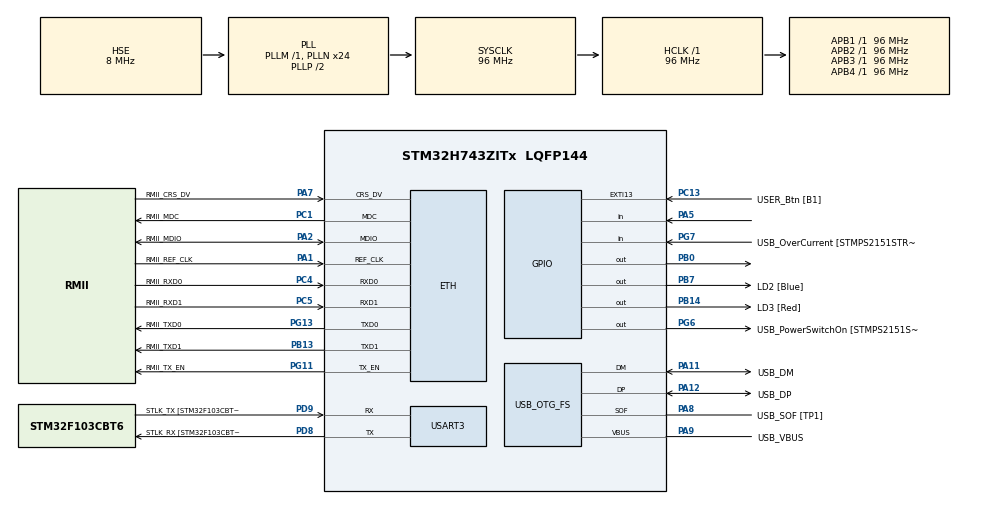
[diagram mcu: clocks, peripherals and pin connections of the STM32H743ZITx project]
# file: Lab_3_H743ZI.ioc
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ETH.MediaInterface=HAL_ETH_RMII_MODE
Mcu.Family=STM32H7
Mcu.Name=STM32H743ZITx
Mcu.Package=LQFP144
NVIC.PriorityGroup=NVIC_PRIORITYGROUP_4
NVIC.TIM16_IRQn=true\:0\:0\:false\:false\:true\:true\:true
PA1.GPIO_Label=RMII_REF_CLK
PA1.Mode=RMII
PA1.Signal=ETH_REF_CLK
PA10.GPIO_Label=USB_ID
PA10.Signal=USB_OTG_FS_ID
PA11.GPIO_Label=USB_DM
PA11.Mode=Device_Only
PA11.Signal=USB_OTG_FS_DM
PA12.GPIO_Label=USB_DP
PA12.Mode=Device_Only
PA12.Signal=USB_OTG_FS_DP
PA2.GPIO_Label=RMII_MDIO
PA2.Mode=RMII
PA2.Signal=ETH_MDIO
PA5.Signal=GPIO_Input
PA7.GPIO_Label=RMII_CRS_DV
PA7.Mode=RMII
PA7.Signal=ETH_CRS_DV
PA8.GPIO_Label=USB_SOF [TP1]
PA8.Mode=Activate_SOF_FS
PA8.Signal=USB_OTG_FS_SOF
PA9.GPIO_Label=USB_VBUS
PA9.Mode=Activate_VBUS
PA9.Signal=USB_OTG_FS_VBUS
PB0.Signal=GPIO_Output
PB13.GPIO_Label=RMII_TXD1
PB13.Mode=RMII
PB13.Signal=ETH_TXD1
PB14.GPIO_Label=LD3 [Red]
PB14.Signal=GPIO_Output
PB7.GPIO_Label=LD2 [Blue]
PB7.Signal=GPIO_Output
PC1.GPIO_Label=RMII_MDC
PC1.Mode=RMII
PC1.Signal=ETH_MDC
PC13.GPIO_Label=USER_Btn [B1]
PC13.Signal=GPXTI13
PC14-OSC32_IN\ (OSC32_IN).Mode=LSE-External-Oscillator
PC14-OSC32_IN\ (OSC32_IN).Signal=RCC_OSC32_IN
PC15-OSC32_OUT\ (OSC32_OUT).Mode=LSE-External-Oscillator
PC15-OSC32_OUT\ (OSC32_OUT).Signal=RCC_OSC32_OUT
PC4.GPIO_Label=RMII_RXD0
PC4.Mode=RMII
PC4.Signal=ETH_RXD0
PC5.GPIO_Label=RMII_RXD1
PC5.Mode=RMII
PC5.Signal=ETH_RXD1
PD8.GPIO_Label=STLK_RX [STM32F103CBT6_PA3]
PD8.Mode=Asynchronous
PD8.Signal=USART3_TX
PD9.GPIO_Label=STLK_TX [STM32F103CBT6_PA2]
PD9.Mode=Asynchronous
PD9.Signal=USART3_RX
PG11.GPIO_Label=RMII_TX_EN
PG11.Mode=RMII
PG11.Signal=ETH_TX_EN
PG13.GPIO_Label=RMII_TXD0
PG13.Mode=RMII
PG13.Signal=ETH_TXD0
PG6.GPIO_Label=USB_PowerSwitchOn [STMPS2151STR_EN]
PG6.Signal=GPIO_Output
PG7.GPIO_Label=USB_OverCurrent [STMPS2151STR_FAULT]
PG7.Signal=GPIO_Input
PH0-OSC_IN\ (PH0).GPIO_Label=MCO
PH0-OSC_IN\ (PH0).Mode=HSE-External-Clock-Source
PH0-OSC_IN\ (PH0).Signal=RCC_OSC_IN
PH1-OSC_OUT\ (PH1).Signal=RCC_OSC_OUT
ProjectManager.HeapSize=0x200
ProjectManager.StackSize=0x400
ProjectManager.TargetToolchain=STM32CubeIDE
RCC.48MHZClocksFreq_Value=24000000
RCC.ADCFreq_Value=16125000
RCC.AHBFreq_Value=216000000
RCC.APB1CLKDivider=RCC_HCLK_DIV4
RCC.APB1Freq_Value=96000000
RCC.APB1TimFreq_Value=108000000
RCC.APB2CLKDivider=RCC_HCLK_DIV2
RCC.APB2Freq_Value=96000000
RCC.APB2TimFreq_Value=216000000
RCC.APB3Freq_Value=96000000
RCC.APB4Freq_Value=96000000
RCC.CortexFreq_Value=96000000
RCC.DIVM1=1
RCC.DIVN1=24
RCC.DIVQ1=4
RCC.HCLKFreq_Value=96000000
RCC.HSE_VALUE=8000000
RCC.HSI_VALUE=64000000
RCC.PLLM=25
RCC.PLLMUL=RCC_PLL_MUL9
RCC.PLLN=432
RCC.PLLQ=9
RCC.PRESCALERUSB=RCC_USBCLKSOURCE_PLL_DIV1_5
RCC.PWR_Regulator_Voltage_Scale=PWR_REGULATOR_VOLTAGE_SCALE1
RCC.SYSCLKFreq_VALUE=96000000
RCC.SYSCLKSource=RCC_SYSCLKSOURCE_PLLCLK
RCC.SYSCLKSourceVirtual=RCC_SYSCLKSOURCE_PLLCLK
RCC.USBFreq_Value=48000000
RCC.VCOOutputFreq_Value=432000000
TIM16.Period=100-1
TIM16.Prescaler=9600-1
USART3.VirtualMode-Asynchronous=VM_ASYNC
USB_OTG_FS.VirtualMode=Device_Only
VP_TIM16_VS_ClockSourceINT.Mode=Enable_Timer
board=NUCLEO-H743ZI

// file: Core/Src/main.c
/* USER CODE BEGIN Header */
/**
  ******************************************************************************
  * @file           : main.c
  * @brief          : Main program body
  ******************************************************************************
  * @attention
  *
  * <h2><center>&copy; Copyright (c) 2020 STMicroelectronics.
  * All rights reserved.</center></h2>
  *
  * This software component is licensed by ST under BSD 3-Clause license,
  * the "License"; You may not use this file except in compliance with the
  * License. You may obtain a copy of the License at:
  *                        opensource.org/licenses/BSD-3-Clause
  *
  ******************************************************************************
  */
/* USER CODE END Header */
#include "main.h"
#include "string.h"

/* USER CODE BEGIN Includes */
#include <stdio.h>
/* USER CODE END Includes */

/* USER CODE BEGIN PTD */

#define threshold1 100
#define threshold2 120
#define step1 50
#define step2 10
#define MODIFIED 61
/* USER CODE END PTD */

#if defined ( __ICCARM__ ) /*!< IAR Compiler */

#pragma location=0x30040000
ETH_DMADescTypeDef  DMARxDscrTab[ETH_RX_DESC_CNT]; /* Ethernet Rx DMA Descriptors */
#pragma location=0x30040060
ETH_DMADescTypeDef  DMATxDscrTab[ETH_TX_DESC_CNT]; /* Ethernet Tx DMA Descriptors */
#pragma location=0x30040200
uint8_t Rx_Buff[ETH_RX_DESC_CNT][ETH_MAX_PACKET_SIZE]; /* Ethernet Receive Buffers */

#elif defined ( __CC_ARM )  /* MDK ARM Compiler */

__attribute__((at(0x30040000))) ETH_DMADescTypeDef  DMARxDscrTab[ETH_RX_DESC_CNT]; /* Ethernet Rx DMA Descriptors */
__attribute__((at(0x30040060))) ETH_DMADescTypeDef  DMATxDscrTab[ETH_TX_DESC_CNT]; /* Ethernet Tx DMA Descriptors */
__attribute__((at(0x30040200))) uint8_t Rx_Buff[ETH_RX_DESC_CNT][ETH_MAX_PACKET_SIZE]; /* Ethernet Receive Buffer */

#elif defined ( __GNUC__ ) /* GNU Compiler */

ETH_DMADescTypeDef DMARxDscrTab[ETH_RX_DESC_CNT] __attribute__((section(".RxDecripSection"))); /* Ethernet Rx DMA Descriptors */
ETH_DMADescTypeDef DMATxDscrTab[ETH_TX_DESC_CNT] __attribute__((section(".TxDecripSection")));   /* Ethernet Tx DMA Descriptors */
uint8_t Rx_Buff[ETH_RX_DESC_CNT][ETH_MAX_PACKET_SIZE] __attribute__((section(".RxArraySection"))); /* Ethernet Receive Buffers */

#endif

ETH_TxPacketConfig TxConfig;

ETH_HandleTypeDef heth;

TIM_HandleTypeDef htim16;

UART_HandleTypeDef huart3;

PCD_HandleTypeDef hpcd_USB_OTG_FS;

/* USER CODE BEGIN PV */
enum modeEnum{init, Mode0, Mode1, Mode2, Mode3, Mode4};
enum buttonEnum{notPressed, pressed, pressedMoreThan1s};
enum buttonEnum buttonMode = notPressed /*, buttonAdjust = notPressed;*/;
enum buttonStateEnum{reset, pressLessThan1s, pressAtLeast1s};
enum buttonStateEnum buttonState = reset;
enum modeEnum mode = init;
uint32_t globalCount = 0;
uint8_t buf[50];
char uart_buf[50];
int uart_buf_len;

uint32_t hour = 0; //0-23     //normalclock
uint32_t minute = 0; //0-59
uint32_t second = 0; //0-59s

uint8_t isSetHour = 0;
uint8_t isSetMinute = 0;
uint8_t isSetSecond = 0;
uint32_t countHour = 0;  // for counting hour,minute, second in setTime
uint32_t countMinute = 0;  // for counting hour,minute, second in setTime
uint32_t countSecond = 0;  // for counting hour,minute, second in setTime
uint32_t hourModified = 0;
uint32_t minuteModified = MODIFIED;
uint32_t secondModified = MODIFIED;

enum normalClockEnum{startNormalClock, runNormalClock, secondRestart, minuteRestart};
enum normalClockEnum normalClockState = startNormalClock;
__IO uint8_t firstRead = 0;
__IO uint8_t secondRead = 0;
uint8_t unchange = 0;
uint8_t pressing = 0;
uint8_t isPressedOneTime = 0;
uint8_t isPressedMoreThan1s = 0;
uint32_t count1 = 0;
uint32_t count2 = 0;
uint32_t count = 0;

enum stopWatchEnum{initStopWatch, increaseHund, increaseSec, increaseMin};
enum stopWatchEnum stopWatchState = initStopWatch;

__IO uint8_t firstReadMode = 0;
__IO uint8_t secondReadMode = 0;
uint32_t stopMin = 0; // Minute value of the stopwatch
uint32_t stopSec = 0; // Second value of the stopwatch
uint32_t stopHun = 0; // Hundredth second value of the stopwatch
uint8_t stopWatchPause = 0;

/* USER CODE END PV */

void SystemClock_Config(void);
static void MX_GPIO_Init(void);
static void MX_ETH_Init(void);
static void MX_USART3_UART_Init(void);
static void MX_USB_OTG_FS_PCD_Init(void);
static void MX_TIM16_Init(void);
/* USER CODE BEGIN PFP */
void readButton(void);
void printCounter(void);
void TurnOnLedBlue(void);
void TurnOffLedBlue(void);
void TurnOnLedRed(void);
void TurnOnLedRed(void);
void SetGlobalMode(void);

void updateTime(void); //mode 0
void printTimeAdjust(void);
void setHour(void); //mode 1
void setMinute(void); //mode 2
void setSecond(void); //mode 3
void stopWatch(void); //mode 4

void displayClock(void); //mode 0
void normalClock(void);
void printClock(uint32_t hour, uint32_t minute, uint32_t second);
void readButtonAdjust(void);

void readButtonMode(void);
void printStopWatchTime(void);
void stopWatch(void);

/* USER CODE END PFP */

/* USER CODE BEGIN 0 */
void TurnOnLedBlue(void) {
	if (globalCount % 40 > 20)
		HAL_GPIO_WritePin(LD2_GPIO_Port, LD2_Pin, GPIO_PIN_SET);
	else
		HAL_GPIO_WritePin(LD2_GPIO_Port, LD2_Pin, GPIO_PIN_RESET);
}

void TurnOffLedBlue(void) {
	HAL_GPIO_WritePin(LD2_GPIO_Port, LD2_Pin, GPIO_PIN_RESET);
}

void TurnOnLedRed(void) {
	if (globalCount % 40 > 20)
		HAL_GPIO_WritePin(LD2_GPIO_Port, LD3_Pin, GPIO_PIN_SET);
	else
		HAL_GPIO_WritePin(LD2_GPIO_Port, LD3_Pin, GPIO_PIN_RESET);
}

void TurnOffLedRed(void) {
	HAL_GPIO_WritePin(LD2_GPIO_Port, LD3_Pin, GPIO_PIN_RESET);
}

void TurnOnLedYellow(void) {
	if (globalCount % 40 > 20)
		HAL_GPIO_WritePin(GPIOB, GPIO_PIN_0, GPIO_PIN_SET);
		else
			HAL_GPIO_WritePin(GPIOB, GPIO_PIN_0, GPIO_PIN_RESET);
}

void TurnOffLedYellow(void) {
	HAL_GPIO_WritePin(GPIOB, GPIO_PIN_0, GPIO_PIN_RESET);
}

void updateTime(void) {
	if(isSetHour) {
			hour = (countHour + hourModified) % 24;
			isSetHour = 0;
			countHour = 0;
			}
	if(isSetMinute) {
			minute = (countMinute + minuteModified) % 60;
			isSetMinute = 0;
			countMinute = 0;
			}
	if(isSetSecond) {
			second = (countSecond + secondModified) % 60;
			isSetSecond = 0;
			countSecond = 0;
			}
}

void printTimeAdjust(void){
	uart_buf_len = sprintf(uart_buf, "%lu:%lu:%lu\r\n",
							(countHour+hourModified)%24,
							(countMinute+minuteModified)%60,
							(countSecond+secondModified)%60);
	HAL_UART_Transmit(&huart3, (uint8_t *) uart_buf, uart_buf_len, 100);
}

void setHour(void){
	if (!isSetHour){
		hourModified = hour;
		minuteModified = (minuteModified == MODIFIED)?minute:minuteModified;
		secondModified = (secondModified == MODIFIED)?second:secondModified;
		isSetHour = (countHour!=0);
	}

	if (isPressedOneTime) {
		countHour++; printTimeAdjust();
	}

	if (isPressedMoreThan1s) {
		countHour++;
		printTimeAdjust();
	}
}

void setMinute(void){
	if(!isSetMinute){
		isSetMinute = (countMinute!=0);
	}

	if(isPressedOneTime) {countMinute++; printTimeAdjust();}

	if(isPressedMoreThan1s) {
			countMinute++;
			printTimeAdjust();
	}
}

void setSecond(void){
	if(!isSetSecond){
		isSetSecond = (countSecond!=0);
	}

	if(isPressedOneTime) {countSecond++; printTimeAdjust();}

	if(isPressedMoreThan1s) {
			countSecond++;
			printTimeAdjust();
	}
}

void displayClock(void)
{
	static uint8_t period = 0;
	if (++period==100)
	{
		period = 0;
		normalClock();
		if (mode == Mode0) printClock(hour, minute, second);
	}
}

void normalClock(void) {
	switch(normalClockState) {
	case startNormalClock:
		hour = 21;
		minute = 30;
		second = 0;
		normalClockState = runNormalClock;
		break;
	case runNormalClock:
		second++;
		if (second == 60) {
			second = 0;
			normalClockState = secondRestart;
		} else {
			normalClockState = runNormalClock;
			break;
		}
	case secondRestart:
		minute++;
		if (minute == 60) {
			minute = 0;
			normalClockState = minuteRestart;
		} else {
			normalClockState = runNormalClock;
			break;
		}
	case minuteRestart:
		hour++;
		normalClockState = runNormalClock;
		if (hour == 24) hour = 0;
		break;
	}
}

void printClock(uint32_t hour, uint32_t minute, uint32_t second) {
	uart_buf_len = sprintf(uart_buf, "%lu:%lu:%lu\r\n", hour,minute,second);
	HAL_UART_Transmit(&huart3, (uint8_t *) uart_buf, uart_buf_len, 100);
}

void printStopWatchTime(void) {
	uart_buf_len = sprintf(uart_buf, "Min: %lu\tSec: %lu.%lu\r\n", stopMin, stopSec, stopHun);
	HAL_UART_Transmit(&huart3, (uint8_t *) uart_buf, uart_buf_len, 100);
}

void stopWatch(void) {
	if (isPressedOneTime) {
		stopWatchPause = !stopWatchPause;
	}
	if (!stopWatchPause) {
		switch (stopWatchState) {
		case initStopWatch: // Initialize values of stopWatch when change to mode 4
			stopMin = 0;
			stopSec = 0;
			stopHun = 0;
			stopWatchState = increaseHund;
			break;
		case increaseHund: // Increase the hundredth second value from 0 to 99
			stopHun++;
			if (stopHun == 100) {
				stopHun = 0;
				stopSec++;
				stopWatchState = increaseSec;
				printStopWatchTime();
			} else {
				stopWatchState = increaseHund;
				printStopWatchTime();
				break;
			}
		case increaseSec: // Increase the second value from 0 to 59
			if (stopSec == 60) {
				stopHun = 0;
				stopSec = 0;
				stopMin++;
				stopWatchState = increaseMin;
				printStopWatchTime();
			} else {
				stopWatchState = increaseHund;
				printStopWatchTime();
				break;
			}
		case increaseMin: // Increase the min value from 0 to 59
			if (stopMin == 60) {
				stopHun = 1;
				stopSec = 0;
				stopMin = 0;
			} else {
				stopWatchState = increaseHund;
			}
			printStopWatchTime();
			break;
		}
	}
}

void readButtonMode(void) {
	firstReadMode = secondReadMode;
	secondReadMode = !(HAL_GPIO_ReadPin(USER_Btn_GPIO_Port, USER_Btn_Pin));
	if (!firstReadMode && secondReadMode) {
		buttonMode = pressed;
	} else {
		buttonMode = notPressed;
	}
}

void readButtonAdjust(void) {
	firstRead = secondRead;
	secondRead = !(HAL_GPIO_ReadPin(GPIOA, GPIO_PIN_5));

	unchange = (secondRead == firstRead);
	isPressedOneTime = !unchange && !pressing;
	pressing = unchange && firstRead;

	switch(buttonState) {
	case reset:
		count1 = 0;
		count2 = 0;
		if (pressing) buttonState = pressLessThan1s;
		else buttonState = reset;
		break;
	case pressLessThan1s:
		count1++; //first pseudo-counter for the first time interval (first 1s)
		if (!pressing) buttonState = reset;
		else if (count1 == threshold1) buttonState = pressAtLeast1s;
		else buttonState = pressLessThan1s;
		break;
	case pressAtLeast1s:
		count2++;
		if (!pressing) buttonState = reset;
		else {
			if (count2==(threshold2-threshold1)) {
				isPressedMoreThan1s = 1;
				count2 = 0;
			} else {
				isPressedMoreThan1s = 0;
			}
		}
		break;
	}
}

/*void printCounter(void) {
	uart_buf_len = sprintf(uart_buf, "%lu\r\n", count);
	HAL_UART_Transmit(&huart3, (uint8_t *) uart_buf, uart_buf_len, 100);
}

void checkReadButton(void)
{
	if (isPressedOneTime) {
		HAL_GPIO_TogglePin(GPIOA, GPIO_PIN_6);
		count++;
		printCounter();
	}
	if (isPressedMoreThan1s) {
		count++;
		printCounter();
	}
}

void readButton(void) {
	firstRead = secondRead;
	secondRead = !(HAL_GPIO_ReadPin(GPIOA, GPIO_PIN_5));

	unchange = (secondRead == firstRead);
	isPressedOneTime = !unchange && !pressing;
	pressing = unchange && firstRead;

	switch(state) {
	case reset:
		count1 = 0;
		count2 = 0;
		if (pressing) state = pressLessThan1s;
		else state = reset;
		break;
	case pressLessThan1s:
		count1++; //first pseudo-counter for the first time interval (first 1s)
		if (!pressing) state = reset;
		else if (count1 == threshold1) state = pressAtLeast1s;
		else state = pressLessThan1s;
		break;
	case pressAtLeast1s:
		count2++;
		if (!pressing) state = reset;
		else {
			if (count2==(threshold2-threshold1)) {
				isPressedMoreThan1s = 1;
				count2 = 0;
			} else {
				isPressedMoreThan1s = 0;
			}
		}
		break;
	}
}*/

void SetGlobalMode(void) {
	globalCount++;
	readButtonMode();
	readButtonAdjust();
	switch(mode) {
	case init:
		TurnOffLedYellow();
		TurnOffLedRed();
		TurnOffLedBlue();
		//reset all other global variables
		mode = Mode0;
		break;
	case Mode0:
		//displayClock();
		//printClock(hour, minute, second);
		if (buttonMode == pressed) mode = Mode1;
		else mode = Mode0;
		break;
	case Mode1:
		setHour();
		TurnOnLedYellow();
		if (buttonMode == pressed) mode = Mode2;
		else mode = Mode1;
		break;
	case Mode2:
		setMinute();
		TurnOffLedYellow();
		TurnOnLedBlue();
		if (buttonMode == pressed) mode = Mode3;
		else mode = Mode2;
		break;
	case Mode3:
		setSecond();
		TurnOffLedBlue();
		TurnOnLedRed();
		if (buttonMode == pressed) mode = Mode4;
		else mode = Mode3;
		break;
	case Mode4:
		stopWatch();
		TurnOffLedRed();
		if (buttonMode == pressed) {
			stopWatchPause = 0;
			updateTime();
			mode = Mode0;
		}
		else mode = Mode4;
		break;
	}
	//uart_buf_len = sprintf(uart_buf, "%d\r\n", mode);
	//HAL_UART_Transmit(&huart3, (uint8_t *) uart_buf, uart_buf_len, 100);

}
/* USER CODE END 0 */

int main(void)
{

  /* MCU Configuration--------------------------------------------------------*/

  /* Reset of all peripherals, Initializes the Flash interface and the Systick. */
  HAL_Init();

  /* Configure the system clock */
  SystemClock_Config();

  /* Initialize all configured peripherals */
  MX_GPIO_Init();
  MX_ETH_Init();
  MX_USART3_UART_Init();
  MX_USB_OTG_FS_PCD_Init();
  MX_TIM16_Init();
  /* USER CODE BEGIN 2 */
  HAL_GPIO_WritePin(LD2_GPIO_Port, LD2_Pin, GPIO_PIN_SET);
  HAL_GPIO_WritePin(LD3_GPIO_Port, LD3_Pin, GPIO_PIN_SET);
  HAL_GPIO_WritePin(GPIOB, GPIO_PIN_0, GPIO_PIN_SET);
  HAL_Delay(2000);
  HAL_GPIO_WritePin(LD2_GPIO_Port, LD2_Pin, GPIO_PIN_RESET);
  HAL_GPIO_WritePin(LD3_GPIO_Port, LD3_Pin, GPIO_PIN_RESET);
  HAL_GPIO_WritePin(GPIOB, GPIO_PIN_0, GPIO_PIN_RESET);

  HAL_TIM_Base_Start_IT(&htim16);
  /* USER CODE END 2 */

  /* Infinite loop */
  while (1)
  {

  }
}

void SystemClock_Config(void)
{
  RCC_OscInitTypeDef RCC_OscInitStruct = {0};
  RCC_ClkInitTypeDef RCC_ClkInitStruct = {0};
  RCC_PeriphCLKInitTypeDef PeriphClkInitStruct = {0};

  /** Supply configuration update enable
  */
  HAL_PWREx_ConfigSupply(PWR_LDO_SUPPLY);
  /** Configure the main internal regulator output voltage
  */
  __HAL_PWR_VOLTAGESCALING_CONFIG(PWR_REGULATOR_VOLTAGE_SCALE1);

  while(!__HAL_PWR_GET_FLAG(PWR_FLAG_VOSRDY)) {}
  /** Initializes the RCC Oscillators according to the specified parameters
  * in the RCC_OscInitTypeDef structure.
  */
  RCC_OscInitStruct.OscillatorType = RCC_OSCILLATORTYPE_HSE;
  RCC_OscInitStruct.HSEState = RCC_HSE_BYPASS;
  RCC_OscInitStruct.PLL.PLLState = RCC_PLL_ON;
  RCC_OscInitStruct.PLL.PLLSource = RCC_PLLSOURCE_HSE;
  RCC_OscInitStruct.PLL.PLLM = 1;
  RCC_OscInitStruct.PLL.PLLN = 24;
  RCC_OscInitStruct.PLL.PLLP = 2;
  RCC_OscInitStruct.PLL.PLLQ = 4;
  RCC_OscInitStruct.PLL.PLLR = 2;
  RCC_OscInitStruct.PLL.PLLRGE = RCC_PLL1VCIRANGE_3;
  RCC_OscInitStruct.PLL.PLLVCOSEL = RCC_PLL1VCOWIDE;
  RCC_OscInitStruct.PLL.PLLFRACN = 0;
  if (HAL_RCC_OscConfig(&RCC_OscInitStruct) != HAL_OK)
  {
    Error_Handler();
  }
  /** Initializes the CPU, AHB and APB buses clocks
  */
  RCC_ClkInitStruct.ClockType = RCC_CLOCKTYPE_HCLK|RCC_CLOCKTYPE_SYSCLK
                              |RCC_CLOCKTYPE_PCLK1|RCC_CLOCKTYPE_PCLK2
                              |RCC_CLOCKTYPE_D3PCLK1|RCC_CLOCKTYPE_D1PCLK1;
  RCC_ClkInitStruct.SYSCLKSource = RCC_SYSCLKSOURCE_PLLCLK;
  RCC_ClkInitStruct.SYSCLKDivider = RCC_SYSCLK_DIV1;
  RCC_ClkInitStruct.AHBCLKDivider = RCC_HCLK_DIV1;
  RCC_ClkInitStruct.APB3CLKDivider = RCC_APB3_DIV1;
  RCC_ClkInitStruct.APB1CLKDivider = RCC_APB1_DIV1;
  RCC_ClkInitStruct.APB2CLKDivider = RCC_APB2_DIV1;
  RCC_ClkInitStruct.APB4CLKDivider = RCC_APB4_DIV1;

  if (HAL_RCC_ClockConfig(&RCC_ClkInitStruct, FLASH_LATENCY_1) != HAL_OK)
  {
    Error_Handler();
  }
  PeriphClkInitStruct.PeriphClockSelection = RCC_PERIPHCLK_USART3|RCC_PERIPHCLK_USB;
  PeriphClkInitStruct.Usart234578ClockSelection = RCC_USART234578CLKSOURCE_D2PCLK1;
  PeriphClkInitStruct.UsbClockSelection = RCC_USBCLKSOURCE_PLL;
  if (HAL_RCCEx_PeriphCLKConfig(&PeriphClkInitStruct) != HAL_OK)
  {
    Error_Handler();
  }
  /** Enable USB Voltage detector
  */
  HAL_PWREx_EnableUSBVoltageDetector();
}

static void MX_ETH_Init(void)
{

  heth.Instance = ETH;
  heth.Init.MACAddr[0] =   0x00;
  heth.Init.MACAddr[1] =   0x80;
  heth.Init.MACAddr[2] =   0xE1;
  heth.Init.MACAddr[3] =   0x00;
  heth.Init.MACAddr[4] =   0x00;
  heth.Init.MACAddr[5] =   0x00;
  heth.Init.MediaInterface = HAL_ETH_RMII_MODE;
  heth.Init.TxDesc = DMATxDscrTab;
  heth.Init.RxDesc = DMARxDscrTab;
  heth.Init.RxBuffLen = 1524;

  if (HAL_ETH_Init(&heth) != HAL_OK)
  {
    Error_Handler();
  }

  memset(&TxConfig, 0 , sizeof(ETH_TxPacketConfig));
  TxConfig.Attributes = ETH_TX_PACKETS_FEATURES_CSUM | ETH_TX_PACKETS_FEATURES_CRCPAD;
  TxConfig.ChecksumCtrl = ETH_CHECKSUM_IPHDR_PAYLOAD_INSERT_PHDR_CALC;
  TxConfig.CRCPadCtrl = ETH_CRC_PAD_INSERT;

}

static void MX_TIM16_Init(void)
{

  htim16.Instance = TIM16;
  htim16.Init.Prescaler = 9600-1;
  htim16.Init.CounterMode = TIM_COUNTERMODE_UP;
  htim16.Init.Period = 100-1;
  htim16.Init.ClockDivision = TIM_CLOCKDIVISION_DIV1;
  htim16.Init.RepetitionCounter = 0;
  htim16.Init.AutoReloadPreload = TIM_AUTORELOAD_PRELOAD_DISABLE;
  if (HAL_TIM_Base_Init(&htim16) != HAL_OK)
  {
    Error_Handler();
  }

}

static void MX_USART3_UART_Init(void)
{

  huart3.Instance = USART3;
  huart3.Init.BaudRate = 115200;
  huart3.Init.WordLength = UART_WORDLENGTH_8B;
  huart3.Init.StopBits = UART_STOPBITS_1;
  huart3.Init.Parity = UART_PARITY_NONE;
  huart3.Init.Mode = UART_MODE_TX_RX;
  huart3.Init.HwFlowCtl = UART_HWCONTROL_NONE;
  huart3.Init.OverSampling = UART_OVERSAMPLING_16;
  huart3.Init.OneBitSampling = UART_ONE_BIT_SAMPLE_DISABLE;
  huart3.Init.ClockPrescaler = UART_PRESCALER_DIV1;
  huart3.AdvancedInit.AdvFeatureInit = UART_ADVFEATURE_NO_INIT;
  if (HAL_UART_Init(&huart3) != HAL_OK)
  {
    Error_Handler();
  }
  if (HAL_UARTEx_SetTxFifoThreshold(&huart3, UART_TXFIFO_THRESHOLD_1_8) != HAL_OK)
  {
    Error_Handler();
  }
  if (HAL_UARTEx_SetRxFifoThreshold(&huart3, UART_RXFIFO_THRESHOLD_1_8) != HAL_OK)
  {
    Error_Handler();
  }
  if (HAL_UARTEx_DisableFifoMode(&huart3) != HAL_OK)
  {
    Error_Handler();
  }

}

static void MX_USB_OTG_FS_PCD_Init(void)
{

  hpcd_USB_OTG_FS.Instance = USB_OTG_FS;
  hpcd_USB_OTG_FS.Init.dev_endpoints = 9;
  hpcd_USB_OTG_FS.Init.speed = PCD_SPEED_FULL;
  hpcd_USB_OTG_FS.Init.dma_enable = DISABLE;
  hpcd_USB_OTG_FS.Init.phy_itface = PCD_PHY_EMBEDDED;
  hpcd_USB_OTG_FS.Init.Sof_enable = ENABLE;
  hpcd_USB_OTG_FS.Init.low_power_enable = DISABLE;
  hpcd_USB_OTG_FS.Init.lpm_enable = DISABLE;
  hpcd_USB_OTG_FS.Init.battery_charging_enable = ENABLE;
  hpcd_USB_OTG_FS.Init.vbus_sensing_enable = ENABLE;
  hpcd_USB_OTG_FS.Init.use_dedicated_ep1 = DISABLE;
  if (HAL_PCD_Init(&hpcd_USB_OTG_FS) != HAL_OK)
  {
    Error_Handler();
  }

}

static void MX_GPIO_Init(void)
{
  GPIO_InitTypeDef GPIO_InitStruct = {0};

  /* GPIO Ports Clock Enable */
  __HAL_RCC_GPIOC_CLK_ENABLE();
  __HAL_RCC_GPIOH_CLK_ENABLE();
  __HAL_RCC_GPIOA_CLK_ENABLE();
  __HAL_RCC_GPIOB_CLK_ENABLE();
  __HAL_RCC_GPIOD_CLK_ENABLE();
  __HAL_RCC_GPIOG_CLK_ENABLE();

  /*Configure GPIO pin Output Level */
  HAL_GPIO_WritePin(GPIOB, GPIO_PIN_0|LD3_Pin|LD2_Pin, GPIO_PIN_RESET);

  /*Configure GPIO pin Output Level */
  HAL_GPIO_WritePin(USB_PowerSwitchOn_GPIO_Port, USB_PowerSwitchOn_Pin, GPIO_PIN_RESET);

  /*Configure GPIO pin : USER_Btn_Pin */
  GPIO_InitStruct.Pin = USER_Btn_Pin;
  GPIO_InitStruct.Mode = GPIO_MODE_IT_RISING;
  GPIO_InitStruct.Pull = GPIO_NOPULL;
  HAL_GPIO_Init(USER_Btn_GPIO_Port, &GPIO_InitStruct);

  /*Configure GPIO pin : PA5 */
  GPIO_InitStruct.Pin = GPIO_PIN_5;
  GPIO_InitStruct.Mode = GPIO_MODE_INPUT;
  GPIO_InitStruct.Pull = GPIO_NOPULL;
  HAL_GPIO_Init(GPIOA, &GPIO_InitStruct);

  /*Configure GPIO pins : PB0 LD3_Pin LD2_Pin */
  GPIO_InitStruct.Pin = GPIO_PIN_0|LD3_Pin|LD2_Pin;
  GPIO_InitStruct.Mode = GPIO_MODE_OUTPUT_PP;
  GPIO_InitStruct.Pull = GPIO_NOPULL;
  GPIO_InitStruct.Speed = GPIO_SPEED_FREQ_LOW;
  HAL_GPIO_Init(GPIOB, &GPIO_InitStruct);

  /*Configure GPIO pin : USB_PowerSwitchOn_Pin */
  GPIO_InitStruct.Pin = USB_PowerSwitchOn_Pin;
  GPIO_InitStruct.Mode = GPIO_MODE_OUTPUT_PP;
  GPIO_InitStruct.Pull = GPIO_NOPULL;
  GPIO_InitStruct.Speed = GPIO_SPEED_FREQ_LOW;
  HAL_GPIO_Init(USB_PowerSwitchOn_GPIO_Port, &GPIO_InitStruct);

  /*Configure GPIO pin : USB_OverCurrent_Pin */
  GPIO_InitStruct.Pin = USB_OverCurrent_Pin;
  GPIO_InitStruct.Mode = GPIO_MODE_INPUT;
  GPIO_InitStruct.Pull = GPIO_NOPULL;
  HAL_GPIO_Init(USB_OverCurrent_GPIO_Port, &GPIO_InitStruct);

}

/* USER CODE BEGIN 4 */
void HAL_TIM_PeriodElapsedCallback(TIM_HandleTypeDef *htim) {
	if (htim == &htim16)
	{
		displayClock();
		SetGlobalMode();
	}
}
/* USER CODE END 4 */

void Error_Handler(void)
{
}

/************************ (C) COPYRIGHT STMicroelectronics *****END OF FILE****/
